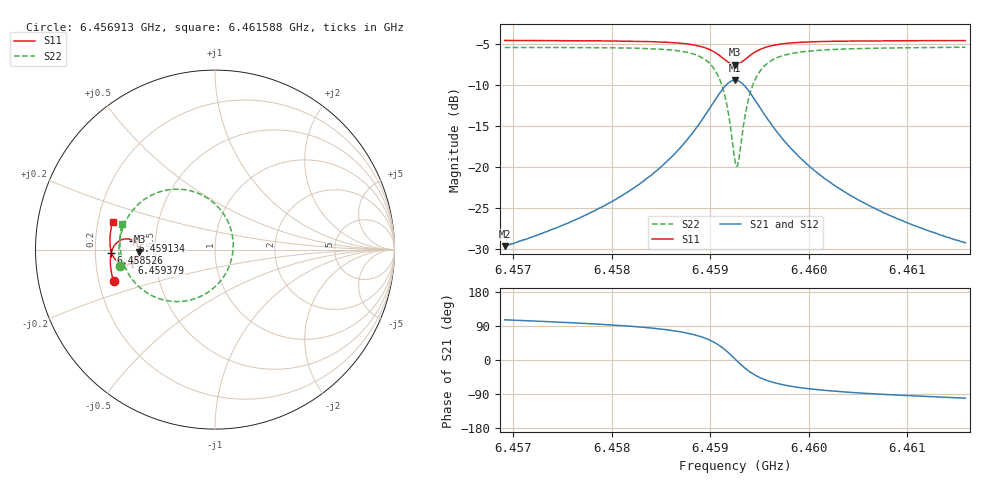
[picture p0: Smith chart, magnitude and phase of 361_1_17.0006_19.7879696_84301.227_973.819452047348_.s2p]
#  HZ  S  RI  R  50.00
! Rohde & Schwarz Vector Network Analyzer
! Rohde-Schwarz,ZNB20-2Port,1311601062101988,3.16
! Created: UTC 3/20/2024, 11:08:14 PM
! freq[Hz]  re:S11  im:S11  re:S21  im:S21  re:S12  im:S12  re:S22  im:S22
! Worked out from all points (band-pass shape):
!   401 points, 6.456913 GHz to 6.461588 GHz, reference 50 ohm
!   highest |S21| = -9.39 dB at 6.45925 GHz (marker M1); lowest = -29.6 dB at 6.456913 GHz (marker M2)
!   |S21| within 3 dB of the highest: 6.459017 GHz to 6.459485 GHz (467.2 kHz wide, 0.00723 % of centre)
!   lowest |S11| = -7.5 dB at 6.45925 GHz (marker M3), VSWR 2.45, Z = 20.4 - j0.577 ohm
!   |S11| at or under -10 dB: nowhere
!   |S22| runs from -19.9 to -5.4 dB; largest |S21 - S12| = 0.013
!   S11 on the Smith chart (normalised r, x): 6.456913 GHz: 0.26, -0.14; 6.458526 GHz: 0.27, -0.01; 6.459134 GHz: 0.37, +0.05; 6.459379 GHz: 0.36, -0.07; 6.461588 GHz: 0.26, +0.12
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6.4569134e9  -0.5652 -0.1772  -0.00909 0.0317  -0.00741 0.0317  -0.5292 -0.0899
6.4576963e9  -0.58 -0.1091  -0.00592 0.0494  -0.00348 0.0488  -0.5358 0.000129
6.4581287e9  -0.5831 -0.0662  -0.000276 0.0685  0.00292 0.0672  -0.5284 0.0674
6.4584792e9  -0.5798 -0.0247  0.0132 0.0971  0.0171 0.0943  -0.5042 0.1447
6.458526e9  -0.5784 -0.0184  0.0165 0.1023  0.0205 0.0995  -0.4981 0.1577
6.4587363e9  -0.5665 0.0134  0.042 0.1336  0.0461 0.1288  -0.4504 0.2286
6.4588882e9  -0.5457 0.0397  0.0838 0.1635  0.0871 0.1571  -0.3736 0.2926
6.4590401e9  -0.5004 0.0595  0.1739 0.1828  0.175 0.1754  -0.2091 0.337
6.4591336e9  -0.4565 0.0498  0.2623 0.1528  0.2625 0.1468  -0.0456 0.2891
6.4591804e9  -0.4357 0.0315  0.3055 0.111  0.3067 0.1057  0.0363 0.2151
6.4592505e9  -0.4208 -0.0117  0.3388 0.0161  0.3423 0.00915  0.1012 0.0394
6.4592738e9  -0.4225 -0.0273  0.3369 -0.0187  0.3406 -0.0267  0.0976 -0.0261
6.4592855e9  -0.4245 -0.0348  0.3337 -0.0356  0.3371 -0.0444  0.0907 -0.0578
6.4593323e9  -0.4398 -0.0604  0.3057 -0.0946  0.308 -0.106  0.0353 -0.1692
6.459379e9  -0.4614 -0.0765  0.2648 -0.1352  0.2639 -0.1479  -0.0475 -0.2432
6.4594725e9  -0.504 -0.0832  0.1818 -0.1663  0.1757 -0.1777  -0.2126 -0.2895
6.4596244e9  -0.5473 -0.0627  0.0953 -0.1532  0.0871 -0.1593  -0.3772 -0.2421
6.459788e9  -0.5687 -0.0352  0.051 -0.1261  0.0436 -0.1289  -0.4566 -0.1716
6.4600334e9  -0.5812 0.000363  0.0221 -0.0952  0.0165 -0.096  -0.5043 -0.0908
6.4603606e9  -0.5855 0.039  0.00703 -0.0703  0.003 -0.0699  -0.5249 -0.0167
6.4608163e9  -0.5837 0.0847  -0.00126 -0.0508  -0.00414 -0.0501  -0.5301 0.0554
6.4615876e9  -0.571 0.1526  -0.0065 -0.034  -0.00805 -0.033  -0.5186 0.145
